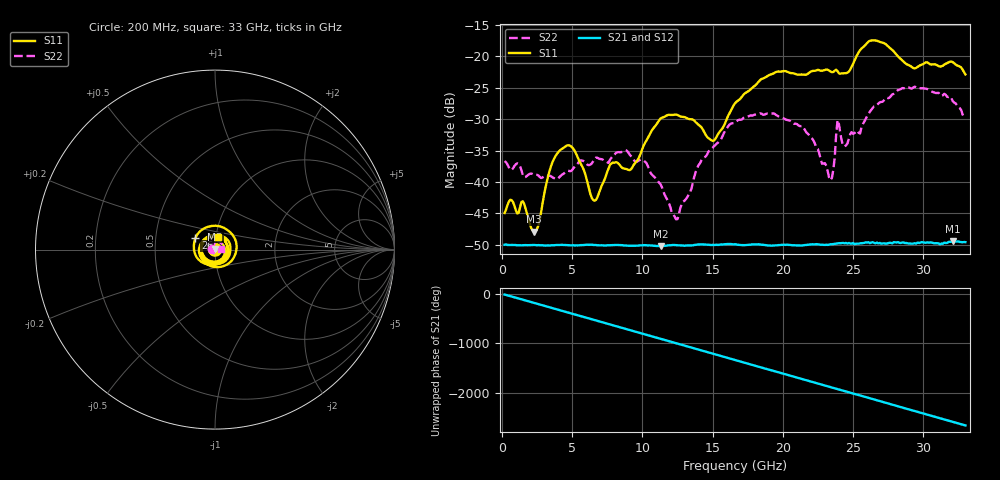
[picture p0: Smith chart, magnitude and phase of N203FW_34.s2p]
# GHZ S RI R 50
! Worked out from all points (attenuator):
!   329 points, 200 MHz to 33 GHz, reference 50 ohm
!   highest |S21| = -49.43 dB at 32.1 GHz (marker M1); lowest = -50.2 dB at 11.3 GHz (marker M2)
!   lowest |S11| = -47.9 dB at 2.3 GHz (marker M3), VSWR 1.01, Z = 50.1 + j0.378 ohm
!   |S11| at or under -10 dB: start of sweep to end of sweep
!   |S22| runs from -45.9 to -24.9 dB; largest |S21 - S12| = 8.7e-05
!   S11 on the Smith chart (normalised r, x): 200 MHz: 1.01, -0.00; 26 GHz: 0.80, +0.11; 33 GHz: 1.03, +0.14
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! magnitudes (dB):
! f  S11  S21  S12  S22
! 200 MHz  -44.9  -50.0  -49.9  -36.7
! 1.5 GHz  -43.1  -50.0  -50.0  -38.9
! 2.3 GHz  -47.9  -50.0  -50.0  -38.8
! 4 GHz  -35.3  -50.0  -50.0  -39.4
! 5.7 GHz  -37.4  -50.0  -50.0  -36.6
! 6.7 GHz  -42.8  -50.0  -50.0  -36.1
! 7.7 GHz  -37.3  -50.0  -50.0  -36.5
! 8.9 GHz  -38.0  -50.1  -50.1  -35.0
! 11.2 GHz  -30.2  -50.2  -50.2  -40.1
! 11.3 GHz  -29.9  -50.2  -50.2  -40.3
! 12.5 GHz  -29.3  -50.0  -50.0  -45.9
! 15 GHz  -33.5  -50.0  -50.0  -34.6
! 16.6 GHz  -27.5  -49.9  -49.9  -30.6
! 19.3 GHz  -22.8  -50.1  -50.1  -29.1
! 22.1 GHz  -22.4  -49.9  -49.9  -33.1
! 23.4 GHz  -22.4  -49.9  -49.9  -39.7
! 23.9 GHz  -22.4  -49.8  -49.8  -30.2
! 24.4 GHz  -22.7  -49.7  -49.6  -34.3
! 26 GHz  -17.9  -49.6  -49.6  -29.6
! 27.6 GHz  -18.7  -49.7  -49.7  -26.6
! 32.1 GHz  -21.0  -49.4  -49.4  -27.2
! 33 GHz  -22.9  -49.5  -49.6  -29.8
